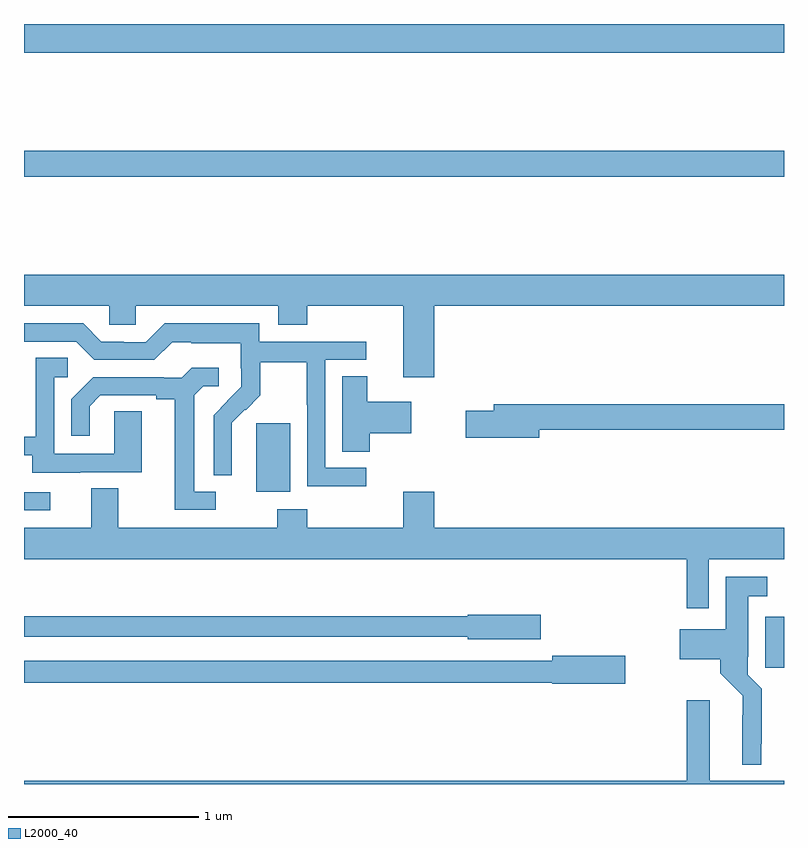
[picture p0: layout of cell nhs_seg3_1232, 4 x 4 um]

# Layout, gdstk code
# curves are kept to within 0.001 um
import gdstk
lib = gdstk.Library(unit=1e-6, precision=1e-09)
def R(c, l, rs):  # rectangles x0, y0, x1, y1
    for r in rs: c.add(gdstk.rectangle(r[:2], r[2:], *l))
def P(c, l, *ps):  # polygons
    for p in ps: c.add(gdstk.Polygon(p, *l))
L2000_40 = (2000, 40)

nhs_seg3_1232 = lib.new_cell('nhs_seg3_1232')
R(nhs_seg3_1232, L2000_40, [(178.901,699.012,179,699.279), (175,699.84,175.138,699.936), (176.222,699.938,176.401,700.299), (175,701.596,179,701.732), (175,702.248,179,702.4)])
P(nhs_seg3_1232, L2000_40, [(177.16,700.916),(179,700.916),(179,701.08),(175,701.08),(175,700.916),(175.449,700.916),(175.449,700.818),(175.587,700.818),(175.587,700.916),(176.339,700.916),(176.339,700.817),(176.492,700.817),(176.492,700.916),(176.996,700.916),(176.996,700.542),(177.16,700.542)],
  [(176.8,700.065),(176.586,700.065),(176.586,700.632),(176.8,700.632),(176.8,700.728),(176.238,700.728),(176.238,700.825),(175.741,700.825),(175.641,700.725),(175.526,700.725),(175.526,700.728),(175.407,700.728),(175.311,700.824),(175,700.824),(175,700.728),(175.275,700.728),(175.371,700.632),(175.686,700.632),(175.779,700.725),(175.879,700.725),(175.879,700.721),(176.142,700.721),(176.142,700.587),(176.144,700.587),(176.144,700.49),(175.998,700.342),(175.998,700.024),(176.094,700.024),(176.093,700.301),(176.163,700.371),(176.166,700.368),(176.243,700.445),(176.243,700.62),(176.488,700.62),(176.488,700.396),(176.49,700.396),(176.49,699.967),(176.8,699.967)],
  [(175.297,700.041),(175.621,700.041),(175.621,700.361),(175.476,700.361),(175.476,700.137),(175.158,700.137),(175.158,700.542),(175.231,700.542),(175.231,700.643),(175.062,700.643),(175.062,700.227),(175,700.227),(175,700.131),(175.043,700.131),(175.043,700.037),(175.297,700.037)],
  [(176.008,699.939),(175.897,699.939),(175.897,700.447),(175.944,700.494),(176.026,700.494),(176.026,700.591),(175.882,700.591),(175.83,700.539),(175.736,700.539),(175.736,700.542),(175.364,700.542),(175.248,700.426),(175.248,700.233),(175.345,700.233),(175.345,700.389),(175.402,700.446),(175.697,700.446),(175.697,700.424),(175.793,700.424),(175.793,699.843),(176.008,699.843)],
  [(176.819,700.246),(177.037,700.246),(177.037,700.411),(176.806,700.411),(176.806,700.547),(176.675,700.547),(176.675,700.15),(176.819,700.15)],
  [(177.712,700.264),(179,700.264),(179,700.4),(177.473,700.4),(177.473,700.364),(177.324,700.364),(177.324,700.222),(177.712,700.222)],
  [(178.605,699.584),(179,699.584),(179,699.748),(177.16,699.748),(177.16,699.937),(176.996,699.937),(176.996,699.748),(176.492,699.748),(176.492,699.847),(176.332,699.847),(176.332,699.748),(175.495,699.748),(175.495,699.956),(175.355,699.956),(175.355,699.748),(175,699.748),(175,699.584),(178.489,699.584),(178.489,699.324),(178.605,699.324)],
  [(178.879,698.611),(178.883,698.611),(178.883,698.902),(178.809,698.976),(178.809,699.07),(178.813,699.07),(178.813,699.389),(178.912,699.389),(178.912,699.49),(178.694,699.49),(178.694,699.214),(178.452,699.214),(178.452,699.056),(178.664,699.056),(178.664,698.982),(178.782,698.864),(178.781,698.501),(178.879,698.501)],
  [(177.721,699.291),(177.336,699.291),(177.336,699.283),(175,699.283),(175,699.174),(177.336,699.174),(177.336,699.161),(177.721,699.161)],
  [(178.165,699.074),(177.78,699.074),(177.78,699.048),(175,699.048),(175,698.932),(177.78,698.932),(177.78,698.927),(178.165,698.927)],
  [(179,698.416),(178.609,698.416),(178.609,698.842),(178.487,698.842),(178.487,698.416),(175,698.416),(175,698.4),(179,698.4)])

lib.write_gds('nhs_seg3_1232.gds')
